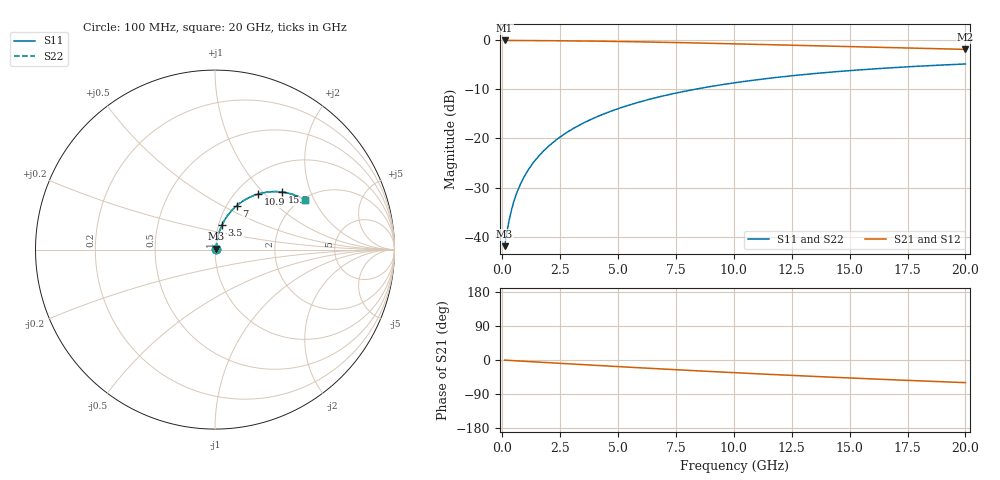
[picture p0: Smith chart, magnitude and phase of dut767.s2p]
! Touchstone file exported from HFSS 2026.1.0
!  File:  C:/ffzhzh/LocalFiles/Ansys_Project_Files/temp_train_TMRDL_767_1783155544_55132.aedt
!  Generated:  05:00:36 PM Jul  4, 2026
!  Design:  TMRDL
!  Project:  temp_train_TMRDL_767_1783155544_55132
! Variables:
!  h_bsmrdl = 2um
!  h_ox = 20um
!  h_rdl = 5um
!  h_sub = 80um
!  h_tmrdl = 2.69um
!  h_tsv = 80um
!  h_via = 3um
!  l_bsmrdl = 300um
!  l_sub = 1286.95um
!  l_tmrdl = 886.95um
!  m_sub = 200um
!  pitch = 52.5um
!  r_tsv = 6um
!  s_tmrdl = 10um
!  w_bsmrdl = 18um
!  w_sub = 500um
!  w_tmrdl = 17.78um
!  x_tsv_center1 = 895.84um
!  x_tsv_center2 = 1213.84um
!  x_tsv_center3 = 2118.57um
!  x_tsv_center4 = 2436.57um
!  x_tsv_center5 = 3341.3um
!  x_tsv_center6 = 3659.3um
# GHz S MA R 50.000000
! Terminal data exported
! Port[1] = TM_RDL1_1_T1
! Port[2] = TM_RDL1_1_T2
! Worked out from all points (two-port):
!   200 points, 100 MHz to 20 GHz, reference 50 ohm
!   highest |S21| = -0.06 dB at 100 MHz (marker M1); lowest = -1.9 dB at 20 GHz (marker M2)
!   |S21| within 3 dB of the highest: start of sweep to end of sweep
!   lowest |S11| = -41.9 dB at 100 MHz (marker M3), VSWR 1.02, Z = 50.7 + j0.445 ohm
!   |S11| at or under -10 dB: start of sweep to 8.32 GHz
!   |S22| runs from -41.9 to -4.8 dB; largest |S21 - S12| = 5.8e-15
!   S11 on the Smith chart (normalised r, x): 100 MHz: 1.01, +0.01; 3.5 GHz: 1.04, +0.29; 7 GHz: 1.11, +0.59; 10.9 GHz: 1.26, +0.92; 15.2 GHz: 1.54, +1.30; 20 GHz: 2.07, +1.70
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0.1  0.007997 33.3  0.9933 -0.4  0.9933 -0.4  0.007997 33.3
! Gamma 0 0 0 0
! Port Impedance 50 0 50 0
0.2  0.01114 51.7  0.9932 -0.7  0.9932 -0.7  0.01114 51.7
0.3  0.01488 61.0  0.9929 -1.1  0.9929 -1.1  0.01488 61.0
0.4  0.01882 66.2  0.9927 -1.5  0.9927 -1.5  0.01882 66.2
0.5  0.02281 69.4  0.9924 -1.8  0.9924 -1.8  0.02281 69.4
0.6  0.02682 71.6  0.9922 -2.2  0.9922 -2.2  0.02682 71.6
0.8  0.03486 74.2  0.9916 -2.9  0.9916 -2.9  0.03486 74.2
1.1  0.04694 76.2  0.9909 -3.9  0.9909 -3.9  0.04694 76.2
1.6  0.06715 77.2  0.9895 -5.7  0.9895 -5.7  0.06715 77.2
2.1  0.08735 77.0  0.9877 -7.4  0.9877 -7.4  0.08735 77.0
2.7  0.1114 76.0  0.9851 -9.5  0.9851 -9.5  0.1114 76.0
3.5  0.1432 74.1  0.9807 -12.3  0.9807 -12.3  0.1431 74.1
5  0.2007 69.8  0.97 -17.4  0.97 -17.4  0.2007 69.8
6.8  0.2656 64.3  0.9535 -23.4  0.9535 -23.4  0.2656 64.3
7  0.2725 63.7  0.9515 -24.0  0.9515 -24.0  0.2725 63.7
8.5  0.322 59.1  0.9353 -28.8  0.9353 -28.8  0.322 59.2
10.1  0.3703 54.4  0.9168 -33.7  0.9168 -33.7  0.3703 54.4
10.9  0.3927 52.1  0.9072 -36.1  0.9072 -36.1  0.3927 52.1
13.4  0.4553 45.1  0.8771 -43.2  0.8771 -43.2  0.4553 45.2
15.2  0.4938 40.4  0.8559 -48.0  0.8559 -48.0  0.4938 40.5
16.7  0.5219 36.7  0.8391 -51.8  0.8391 -51.8  0.5219 36.8
20  0.5724 28.9  0.8059 -59.8  0.8059 -59.8  0.5724 29.0
